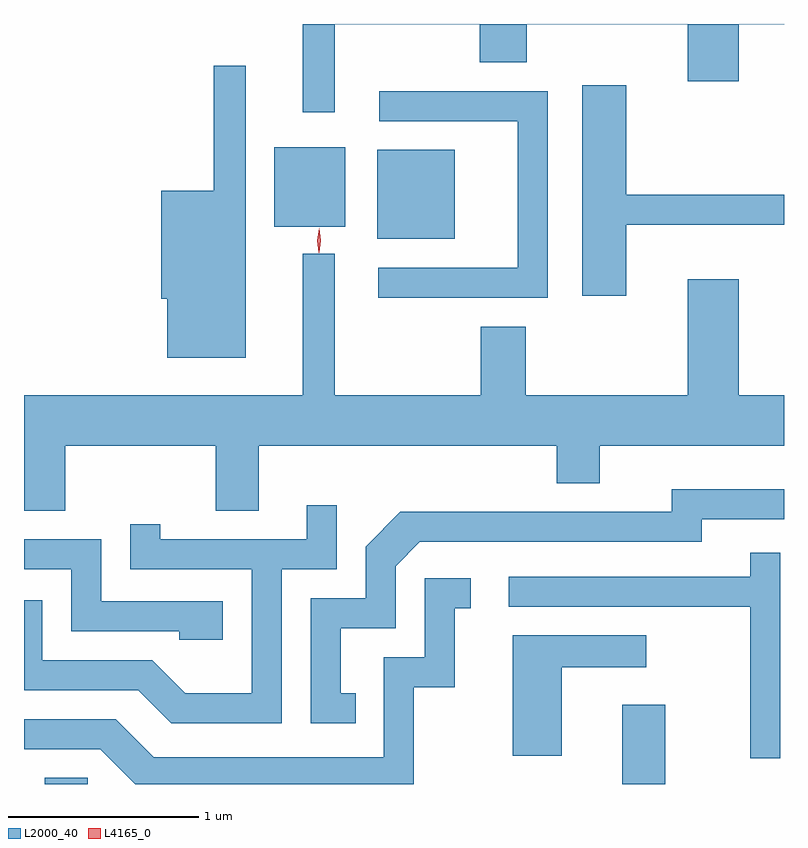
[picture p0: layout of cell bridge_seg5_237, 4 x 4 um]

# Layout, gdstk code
import gdstk
lib = gdstk.Library(unit=1e-6, precision=1e-09)
def R(c, l, rs):  # rectangles x0, y0, x1, y1
    for r in rs: c.add(gdstk.rectangle(r[:2], r[2:], *l))
def P(c, l, *ps):  # polygons
    for p in ps: c.add(gdstk.Polygon(p, *l))
L2000_40 = (2000, 40)
L4165_0 = (4165, 0)

bridge_seg5_237 = lib.new_cell('bridge_seg5_237')
R(bridge_seg5_237, L2000_40, [(950.951,1521.617,951.179,1521.649), (953.991,1521.617,954.219,1522.034), (952.701,1524.486,953.109,1524.954), (952.161,1524.551,952.534,1524.969)])
P(bridge_seg5_237, L2000_40, [(952.479,1525.616),(953.241,1525.616),(953.241,1525.416),(953.489,1525.416),(953.489,1525.616),(954.336,1525.616),(954.336,1525.316),(954.604,1525.316),(954.604,1525.616),(954.843,1525.616),(954.843,1525.617),(950.843,1525.617),(950.843,1525.616),(952.311,1525.616),(952.311,1525.153),(952.479,1525.153)],
  [(952.009,1525.398),(951.841,1525.398),(951.841,1524.739),(951.566,1524.739),(951.566,1524.171),(951.596,1524.171),(951.596,1523.861),(952.009,1523.861)],
  [(954.014,1524.561),(954.843,1524.561),(954.843,1524.719),(954.014,1524.719),(954.014,1525.294),(953.781,1525.294),(953.781,1524.186),(954.014,1524.186)],
  [(953.599,1525.264),(952.713,1525.264),(952.713,1525.106),(953.441,1525.106),(953.441,1524.334),(952.708,1524.334),(952.708,1524.176),(953.599,1524.176)],
  [(951.059,1523.396),(951.851,1523.396),(951.851,1523.056),(952.079,1523.056),(952.079,1523.396),(953.646,1523.396),(953.646,1523.201),(953.874,1523.201),(953.874,1523.396),(954.843,1523.396),(954.843,1523.664),(954.604,1523.664),(954.604,1524.274),(954.336,1524.274),(954.336,1523.664),(953.484,1523.664),(953.484,1524.024),(953.246,1524.024),(953.246,1523.664),(952.479,1523.664),(952.479,1524.408),(952.311,1524.408),(952.311,1523.664),(950.843,1523.664),(950.843,1523.056),(951.059,1523.056)],
  [(952.588,1522.094),(952.509,1522.094),(952.509,1522.436),(952.799,1522.436),(952.799,1522.764),(952.927,1522.891),(954.409,1522.891),(954.409,1523.011),(954.843,1523.011),(954.843,1523.169),(954.251,1523.169),(954.251,1523.049),(952.824,1523.049),(952.641,1522.867),(952.641,1522.594),(952.351,1522.594),(952.351,1521.936),(952.588,1521.936)],
  [(952.199,1522.746),(952.489,1522.746),(952.489,1523.083),(952.331,1523.083),(952.331,1522.904),(951.559,1522.904),(951.559,1522.983),(951.401,1522.983),(951.401,1522.746),(952.041,1522.746),(952.041,1522.094),(951.692,1522.094),(951.517,1522.269),(950.939,1522.269),(950.939,1522.584),(950.843,1522.584),(950.843,1522.111),(951.444,1522.111),(951.619,1521.936),(952.199,1521.936)],
  [(951.889,1522.579),(951.249,1522.579),(951.249,1522.904),(950.843,1522.904),(950.843,1522.746),(951.091,1522.746),(951.091,1522.421),(951.661,1522.421),(951.661,1522.376),(951.889,1522.376)],
  [(954.824,1522.833),(954.666,1522.833),(954.666,1522.709),(953.393,1522.709),(953.393,1522.551),(954.666,1522.551),(954.666,1521.753),(954.824,1521.753)],
  [(952.894,1522.126),(953.109,1522.126),(953.109,1522.541),(953.193,1522.541),(953.193,1522.699),(952.951,1522.699),(952.951,1522.284),(952.736,1522.284),(952.736,1521.759),(951.527,1521.759),(951.327,1521.959),(950.843,1521.959),(950.843,1521.801),(951.244,1521.801),(951.428,1521.617),(952.894,1521.617)],
  [(953.674,1522.231),(954.118,1522.231),(954.118,1522.399),(953.416,1522.399),(953.416,1521.766),(953.674,1521.766)])
P(bridge_seg5_237, L4165_0, [(952.395,1524.413),(952.395,1524.414),(952.386,1524.477),(952.396,1524.541),(952.397,1524.542),(952.397,1524.541),(952.406,1524.477),(952.396,1524.414)])

lib.write_gds('bridge_seg5_237.gds')
